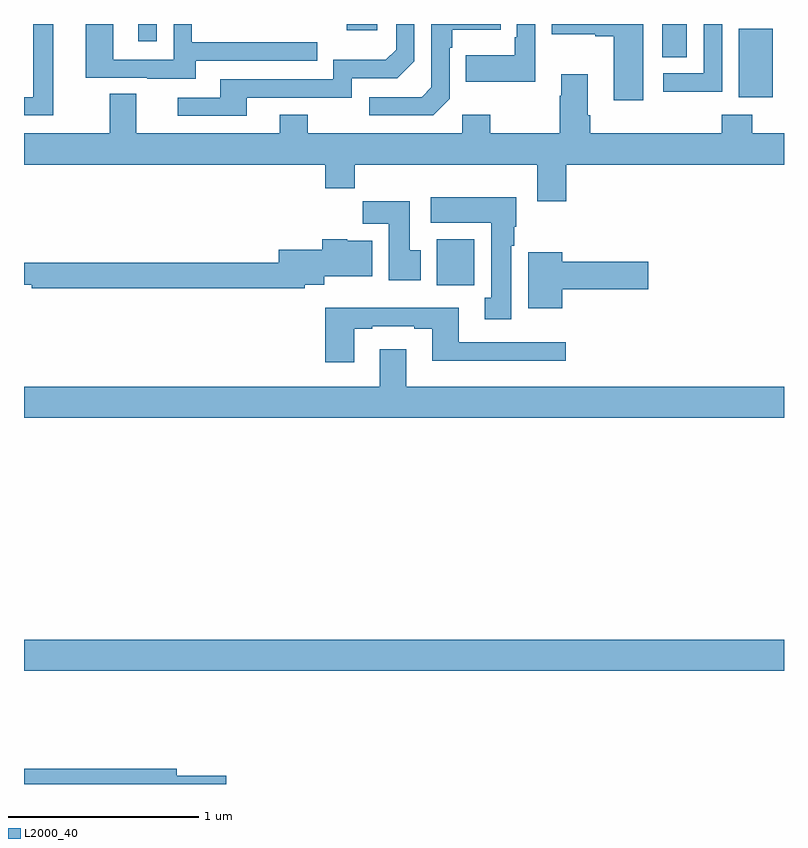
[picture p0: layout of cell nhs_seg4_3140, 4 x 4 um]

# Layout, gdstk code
import gdstk
lib = gdstk.Library(unit=1e-6, precision=1e-09)
def R(c, l, rs):  # rectangles x0, y0, x1, y1
    for r in rs: c.add(gdstk.rectangle(r[:2], r[2:], *l))
def P(c, l, *ps):  # polygons
    for p in ps: c.add(gdstk.Polygon(p, *l))
L2000_40 = (2000, 40)

nhs_seg4_3140 = lib.new_cell('nhs_seg4_3140')
R(nhs_seg4_3140, L2000_40, [(277,787.496,281,787.66), (279.173,789.524,279.37,789.766), (280.763,790.514,280.942,790.875), (280.358,790.726,280.489,790.9), (277.601,790.809,277.698,790.9), (278.699,790.868,278.86,790.9)])
P(nhs_seg4_3140, L2000_40, [(280.674,790.9),(280.578,790.9),(280.578,790.641),(280.365,790.641),(280.365,790.543),(280.674,790.543)],
  [(277.153,790.9),(277.049,790.9),(277.049,790.515),(277,790.515),(277,790.419),(277.153,790.419)],
  [(280.258,790.9),(279.777,790.9),(279.777,790.847),(280.007,790.847),(280.007,790.835),(280.103,790.835),(280.103,790.5),(280.258,790.5)],
  [(277.903,790.707),(278.543,790.707),(278.543,790.803),(277.884,790.803),(277.884,790.9),(277.788,790.9),(277.788,790.713),(277.47,790.713),(277.47,790.9),(277.325,790.9),(277.325,790.617),(277.649,790.617),(277.649,790.613),(277.903,790.613)],
  [(279.69,790.9),(279.594,790.9),(279.594,790.831),(279.582,790.831),(279.582,790.735),(279.325,790.735),(279.325,790.595),(279.69,790.595)],
  [(278.173,790.512),(278.724,790.512),(278.724,790.614),(278.964,790.614),(279.054,790.704),(279.054,790.9),(278.958,790.9),(278.958,790.764),(278.905,790.711),(278.628,790.711),(278.628,790.608),(278.033,790.608),(278.033,790.512),(277.809,790.512),(277.809,790.416),(278.173,790.416)],
  [(279.24,790.506),(279.24,790.775),(279.253,790.775),(279.253,790.871),(279.509,790.871),(279.509,790.9),(279.144,790.9),(279.144,790.566),(279.093,790.515),(278.817,790.515),(278.817,790.419),(279.153,790.419)],
  [(278.493,790.423),(278.345,790.423),(278.345,790.324),(277.591,790.324),(277.591,790.532),(277.451,790.532),(277.451,790.324),(277,790.324),(277,790.16),(278.585,790.16),(278.585,790.036),(278.741,790.036),(278.741,790.16),(279.701,790.16),(279.701,789.966),(279.854,789.966),(279.854,790.16),(281,790.16),(281,790.324),(280.833,790.324),(280.833,790.423),(280.673,790.423),(280.673,790.324),(279.98,790.324),(279.98,790.42),(279.967,790.42),(279.967,790.636),(279.827,790.636),(279.827,790.523),(279.82,790.523),(279.82,790.324),(279.453,790.324),(279.453,790.423),(279.306,790.423),(279.306,790.324),(278.493,790.324)],
  [(279.565,789.734),(279.58,789.734),(279.58,789.834),(279.592,789.834),(279.592,789.988),(279.141,789.988),(279.141,789.854),(279.458,789.854),(279.458,789.458),(279.425,789.458),(279.425,789.345),(279.565,789.345)],
  [(279.088,789.708),(279.031,789.708),(279.031,789.967),(278.782,789.967),(278.782,789.848),(278.921,789.848),(278.921,789.552),(279.088,789.552)],
  [(278.477,789.527),(278.581,789.527),(278.581,789.572),(278.833,789.572),(278.833,789.76),(278.7,789.76),(278.7,789.766),(278.57,789.766),(278.57,789.712),(278.342,789.712),(278.342,789.644),(277,789.644),(277,789.527),(277.042,789.527),(277.042,789.508),(278.477,789.508)],
  [(279.832,789.503),(280.285,789.503),(280.285,789.65),(279.832,789.65),(279.832,789.7),(279.653,789.7),(279.653,789.404),(279.832,789.404)],
  [(278.737,789.297),(278.833,789.297),(278.833,789.309),(279.053,789.309),(279.053,789.297),(279.149,789.297),(279.149,789.128),(279.85,789.128),(279.85,789.225),(279.289,789.225),(279.289,789.406),(278.585,789.406),(278.585,789.12),(278.737,789.12)],
  [(281,788.992),(279.013,788.992),(279.013,789.187),(278.873,789.187),(278.873,788.992),(277,788.992),(277,788.828),(281,788.828)],
  [(278.065,786.944),(277.804,786.944),(277.804,786.98),(277,786.98),(277,786.9),(278.065,786.9)])

lib.write_gds('nhs_seg4_3140.gds')
